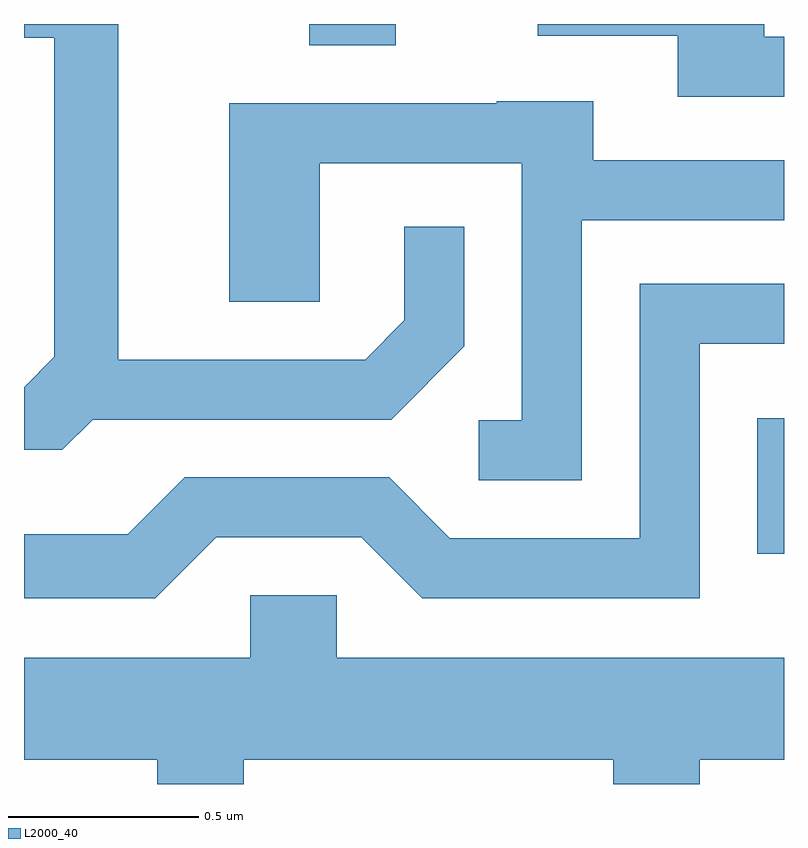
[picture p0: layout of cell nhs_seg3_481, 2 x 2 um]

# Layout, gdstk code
import gdstk
lib = gdstk.Library(unit=1e-6, precision=1e-09)
def R(c, l, rs):  # rectangles x0, y0, x1, y1
    for r in rs: c.add(gdstk.rectangle(r[:2], r[2:], *l))
def P(c, l, *ps):  # polygons
    for p in ps: c.add(gdstk.Polygon(p, *l))
L2000_40 = (2000, 40)

nhs_seg3_481 = lib.new_cell('nhs_seg3_481')
R(nhs_seg3_481, L2000_40, [(190.541,1186.498,190.611,1186.854), (189.361,1187.836,189.589,1187.892)])
P(nhs_seg3_481, L2000_40, [(190.611,1187.859),(190.559,1187.859),(190.559,1187.892),(189.963,1187.892),(189.963,1187.861),(190.331,1187.861),(190.331,1187.701),(190.611,1187.701)],
  [(188.792,1186.851),(189.577,1186.851),(189.769,1187.044),(189.769,1187.358),(189.611,1187.358),(189.611,1187.112),(189.509,1187.009),(188.859,1187.009),(188.859,1187.892),(188.611,1187.892),(188.611,1187.856),(188.691,1187.856),(188.691,1187.017),(188.611,1186.936),(188.611,1186.771),(188.712,1186.771)],
  [(190.079,1187.376),(190.611,1187.376),(190.611,1187.534),(190.109,1187.534),(190.109,1187.689),(189.855,1187.689),(189.855,1187.684),(189.151,1187.684),(189.151,1187.161),(189.389,1187.161),(189.389,1187.526),(189.921,1187.526),(189.921,1186.849),(189.808,1186.849),(189.808,1186.691),(190.079,1186.691)],
  [(189.117,1186.541),(189.499,1186.541),(189.659,1186.381),(190.389,1186.381),(190.389,1187.051),(190.611,1187.051),(190.611,1187.209),(190.231,1187.209),(190.231,1186.539),(189.732,1186.539),(189.572,1186.699),(189.034,1186.699),(188.884,1186.549),(188.611,1186.549),(188.611,1186.381),(188.957,1186.381)],
  [(189.189,1185.956),(190.161,1185.956),(190.161,1185.892),(190.389,1185.892),(190.389,1185.956),(190.611,1185.956),(190.611,1186.224),(189.434,1186.224),(189.434,1186.389),(189.206,1186.389),(189.206,1186.224),(188.611,1186.224),(188.611,1185.956),(188.961,1185.956),(188.961,1185.892),(189.189,1185.892)])

lib.write_gds('nhs_seg3_481.gds')
